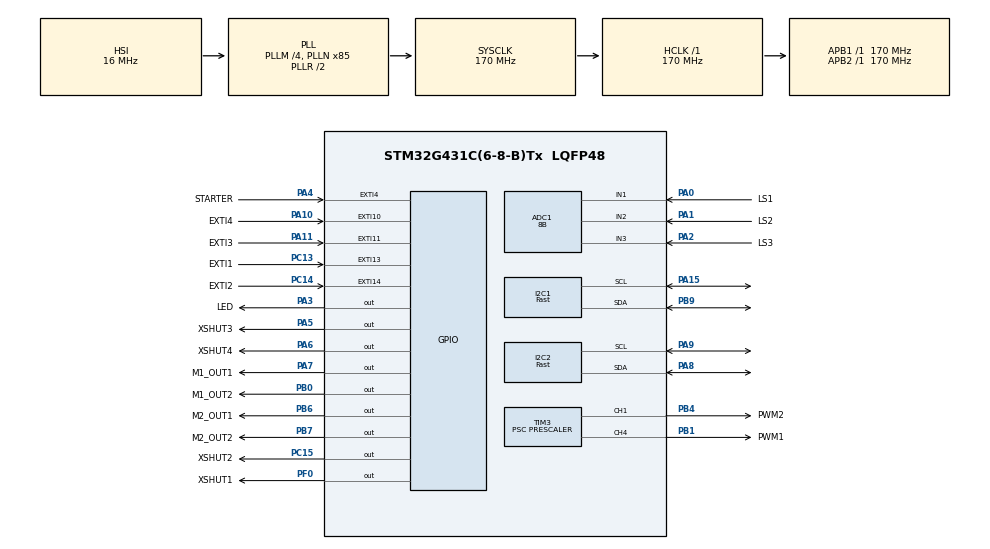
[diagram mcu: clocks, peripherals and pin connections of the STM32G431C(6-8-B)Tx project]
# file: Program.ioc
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ADC1.Channel-0\#ChannelRegularConversion=ADC_CHANNEL_1
ADC1.Channel-5\#ChannelRegularConversion=ADC_CHANNEL_2
ADC1.Channel-6\#ChannelRegularConversion=ADC_CHANNEL_3
ADC1.ClockPrescaler=ADC_CLOCK_SYNC_PCLK_DIV4
ADC1.ContinuousConvMode=ENABLE
ADC1.DMAContinuousRequests=ENABLE
ADC1.DiscontinuousConvMode=DISABLE
ADC1.EOCSelection=ADC_EOC_SEQ_CONV
ADC1.EnableAnalogWatchDog1=false
ADC1.EnableInjectedConversion=DISABLE
ADC1.NbrOfConversion=3
ADC1.NbrOfConversionFlag=1
ADC1.OffsetNumber-0\#ChannelRegularConversion=ADC_OFFSET_NONE
ADC1.OffsetNumber-5\#ChannelRegularConversion=ADC_OFFSET_NONE
ADC1.OffsetNumber-6\#ChannelRegularConversion=ADC_OFFSET_NONE
ADC1.Rank-0\#ChannelRegularConversion=1
ADC1.Rank-5\#ChannelRegularConversion=2
ADC1.Rank-6\#ChannelRegularConversion=3
ADC1.Resolution=ADC_RESOLUTION_8B
ADC1.SamplingTime-0\#ChannelRegularConversion=ADC_SAMPLETIME_47CYCLES_5
ADC1.SamplingTime-5\#ChannelRegularConversion=ADC_SAMPLETIME_47CYCLES_5
ADC1.SamplingTime-6\#ChannelRegularConversion=ADC_SAMPLETIME_47CYCLES_5
ADC1.master=1
Dma.ADC1.0.Direction=DMA_PERIPH_TO_MEMORY
Dma.ADC1.0.EventEnable=DISABLE
Dma.ADC1.0.Instance=DMA1_Channel1
Dma.ADC1.0.MemDataAlignment=DMA_MDATAALIGN_HALFWORD
Dma.ADC1.0.MemInc=DMA_MINC_ENABLE
Dma.ADC1.0.Mode=DMA_CIRCULAR
Dma.ADC1.0.PeriphDataAlignment=DMA_PDATAALIGN_HALFWORD
Dma.ADC1.0.PeriphInc=DMA_PINC_DISABLE
Dma.ADC1.0.Polarity=HAL_DMAMUX_REQ_GEN_RISING
Dma.ADC1.0.Priority=DMA_PRIORITY_LOW
Dma.ADC1.0.RequestNumber=1
Dma.ADC1.0.SignalID=NONE
Dma.ADC1.0.SyncEnable=DISABLE
Dma.ADC1.0.SyncPolarity=HAL_DMAMUX_SYNC_NO_EVENT
Dma.ADC1.0.SyncRequestNumber=1
Dma.ADC1.0.SyncSignalID=NONE
Dma.Request0=ADC1
I2C1.I2C_Fall_Time=50
I2C1.I2C_Rise_Time=50
I2C1.I2C_Speed_Mode=I2C_Fast
I2C1.Timing=0x20801E61
I2C2.I2C_Fall_Time=50
I2C2.I2C_Rise_Time=50
I2C2.I2C_Speed_Mode=I2C_Fast
I2C2.Timing=0x20801E61
IWDG.Prescaler=IWDG_PRESCALER_32
Mcu.Family=STM32G4
Mcu.Name=STM32G431C(6-8-B)Tx
Mcu.Package=LQFP48
Mcu.UserConstants=PULSE,250;PRESCALER,16;COUNTERPERIOD,499;PRESCALER_TIM2,169;COUNTERPERIOD_TIM2,4294967295
NVIC.DMA1_Channel1_IRQn=true\:0\:0\:false\:false\:true\:false\:true\:true
NVIC.EXTI15_10_IRQn=true\:1\:0\:true\:false\:true\:true\:true\:true
NVIC.EXTI4_IRQn=true\:0\:0\:false\:false\:true\:true\:true\:true
NVIC.PriorityGroup=NVIC_PRIORITYGROUP_4
NVIC.TIM3_IRQn=true\:2\:0\:true\:false\:true\:true\:true\:true
PA0.GPIO_Label=LS1
PA0.Mode=IN1-Single-Ended
PA0.Signal=ADC1_IN1
PA1.GPIO_Label=LS2
PA1.Mode=IN2-Single-Ended
PA1.Signal=ADC1_IN2
PA10.GPIO_Label=EXTI4
PA10.GPIO_ModeDefaultEXTI=GPIO_MODE_IT_FALLING
PA10.GPIO_PuPd=GPIO_PULLUP
PA10.Signal=GPXTI10
PA11.GPIO_Label=EXTI3
PA11.GPIO_ModeDefaultEXTI=GPIO_MODE_IT_FALLING
PA11.GPIO_PuPd=GPIO_PULLUP
PA11.Signal=GPXTI11
PA13.Mode=Serial_Wire
PA13.Signal=SYS_JTMS-SWDIO
PA14.Mode=Serial_Wire
PA14.Signal=SYS_JTCK-SWCLK
PA15.Mode=I2C
PA15.Signal=I2C1_SCL
PA2.GPIO_Label=LS3
PA2.Mode=IN3-Single-Ended
PA2.Signal=ADC1_IN3
PA3.GPIO_Label=LED
PA3.Signal=GPIO_Output
PA4.GPIO_Label=STARTER
PA4.GPIO_ModeDefaultEXTI=GPIO_MODE_IT_RISING_FALLING
PA4.GPIO_PuPd=GPIO_PULLUP
PA4.Signal=GPXTI4
PA5.GPIO_Label=XSHUT3
PA5.Signal=GPIO_Output
PA6.GPIO_Label=XSHUT4
PA6.Signal=GPIO_Output
PA7.GPIO_Label=M1_OUT1
PA7.Signal=GPIO_Output
PA8.Mode=I2C
PA8.Signal=I2C2_SDA
PA9.Mode=I2C
PA9.Signal=I2C2_SCL
PB0.GPIO_Label=M1_OUT2
PB0.Signal=GPIO_Output
PB1.GPIO_Label=PWM1
PB1.Signal=S_TIM3_CH4
PB4.GPIO_Label=PWM2
PB4.Signal=S_TIM3_CH1
PB6.GPIO_Label=M2_OUT1
PB6.Signal=GPIO_Output
PB7.GPIO_Label=M2_OUT2
PB7.Signal=GPIO_Output
PB9.Mode=I2C
PB9.Signal=I2C1_SDA
PC13.GPIO_Label=EXTI1
PC13.GPIO_ModeDefaultEXTI=GPIO_MODE_IT_FALLING
PC13.GPIO_PuPd=GPIO_PULLUP
PC13.Signal=GPXTI13
PC14-OSC32_IN.GPIO_Label=EXTI2
PC14-OSC32_IN.GPIO_ModeDefaultEXTI=GPIO_MODE_IT_FALLING
PC14-OSC32_IN.GPIO_PuPd=GPIO_PULLUP
PC14-OSC32_IN.Signal=GPXTI14
PC15-OSC32_OUT.GPIO_Label=XSHUT2
PC15-OSC32_OUT.Signal=GPIO_Output
PF0-OSC_IN.GPIO_Label=XSHUT1
PF0-OSC_IN.Signal=GPIO_Output
ProjectManager.HeapSize=0x1000
ProjectManager.StackSize=0x800
ProjectManager.TargetToolchain=CMake
RCC.ADC12Freq_Value=170000000
RCC.AHBFreq_Value=170000000
RCC.APB1Freq_Value=170000000
RCC.APB1TimFreq_Value=170000000
RCC.APB2Freq_Value=170000000
RCC.APB2TimFreq_Value=170000000
RCC.CortexFreq_Value=170000000
RCC.EXTERNAL_CLOCK_VALUE=12288000
RCC.HCLKFreq_Value=170000000
RCC.HSE_VALUE=8000000
RCC.HSI48_VALUE=48000000
RCC.HSI_VALUE=16000000
RCC.LSE_VALUE=32768
RCC.PLLM=RCC_PLLM_DIV4
RCC.PLLN=85
RCC.SYSCLKFreq_VALUE=170000000
RCC.SYSCLKSource=RCC_SYSCLKSOURCE_PLLCLK
RCC.USBFreq_Value=170000000
RCC.VCOOutputFreq_Value=340000000
SH.S_TIM3_CH1.0=TIM3_CH1,PWM Generation1 CH1
SH.S_TIM3_CH4.0=TIM3_CH4,PWM Generation4 CH4
TIM2.AutoReloadPreload=TIM_AUTORELOAD_PRELOAD_ENABLE
TIM2.PeriodNoDither=COUNTERPERIOD_TIM2
TIM2.Prescaler=PRESCALER_TIM2
TIM3.Channel-PWM\ Generation1\ CH1=TIM_CHANNEL_1
TIM3.Channel-PWM\ Generation4\ CH4=TIM_CHANNEL_4
TIM3.PeriodNoDither=COUNTERPERIOD
TIM3.Prescaler=PRESCALER
TIM3.PulseNoDither_1=0
TIM3.PulseNoDither_4=0
VP_IWDG_VS_IWDG.Mode=IWDG_Activate
VP_SYS_VS_DBSignals.Mode=DisableDeadBatterySignals
VP_TIM2_VS_ClockSourceINT.Mode=Internal
board=custom

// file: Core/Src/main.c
/* USER CODE BEGIN Header */
/**
  ******************************************************************************
  * @file           : main.c
  * @brief          : Main program body
  ******************************************************************************
  * @attention
  *
  * Copyright (c) 2025 STMicroelectronics.
  * All rights reserved.
  *
  * This software is licensed under terms that can be found in the LICENSE file
  * in the root directory of this software component.
  * If no LICENSE file comes with this software, it is provided AS-IS.
  *
  ******************************************************************************
  */
/* USER CODE END Header */
#include "main.h"
#include "adc.h"
#include "dma.h"
#include "i2c.h"
#include "iwdg.h"
#include "tim.h"
#include "gpio.h"

/* USER CODE BEGIN Includes */
#include <stdio.h>
#include <stdbool.h>
#include "tof_sensors.h"  // Changed from vl53l0x_multi.h based on refactoring
#include "motors.h"
#include "ir_remote.h"
#include "robot_logic.h"  // logic module inclusion
/* USER CODE END Includes */

/* USER CODE BEGIN PD */
// Logic thresholds moved to robot_logic.h
/* USER CODE END PD */

/* USER CODE BEGIN PV */
/* USER CODE BEGIN PV */
// --- Hardware Configuration ---

// Configuration array for ToF sensors (Pin mapping)
// UWAGA: Używamy typu zdefiniowanego w tof_sensors.h
ToF_Config_t sensor_configs[TOTAL_SENSOR_COUNT] = {
    { XSHUT1_GPIO_Port, XSHUT1_Pin, &hi2c1 },  // Front Right (0)
    { XSHUT2_GPIO_Port, XSHUT2_Pin, &hi2c1 },  // Side Right  (1)
    { XSHUT3_GPIO_Port, XSHUT3_Pin, &hi2c2 },  // Side Left   (2)
    { XSHUT4_GPIO_Port, XSHUT4_Pin, &hi2c2 }   // Front Left  (3)
};

// Interrupt flags for ToF sensors
volatile bool g_sensor_data_ready[TOTAL_SENSOR_COUNT] = {false};

// --- Data Buffers ---

// Buffer for ToF distance measurements [mm]
uint16_t tof_distances[TOTAL_SENSOR_COUNT];

// Buffer for Line sensors (DMA Circular)
volatile uint16_t adc_line_values[3];

extern TIM_HandleTypeDef htim2;  // Timer for IR (us)
/* USER CODE END PV */

void SystemClock_Config(void);

/* USER CODE BEGIN 0 */

/**
 * @brief Helper function to check flags and read data from ToF sensors.
 *        Called in main loop.
 */
void ProcessSensorFlags(void) {
    for(int i = 0; i < TOTAL_SENSOR_COUNT; i++) {
        if(g_sensor_data_ready[i]) {
            g_sensor_data_ready[i] = false;
            tof_distances[i] = ToF_ReadSingle(i);
        }
    }
}

/**
 * @brief Simple status LED update based on object detection
 */
void UpdateDebugLED(void) {
    bool objectDetected = false;
    for(int i=0; i<TOTAL_SENSOR_COUNT; i++) {
        if(tof_distances[i] < 200 && tof_distances[i] > 10) objectDetected = true;
    }
    HAL_GPIO_WritePin(LED_GPIO_Port, LED_Pin, objectDetected ? GPIO_PIN_SET : GPIO_PIN_RESET);
}

void StopRobot(void) {
    Motors_Stop();
    HAL_GPIO_WritePin(LED_GPIO_Port, LED_Pin, GPIO_PIN_RESET);
}
/* USER CODE END 0 */

int main(void)
{

  /* MCU Configuration--------------------------------------------------------*/

  /* Reset of all peripherals, Initializes the Flash interface and the Systick. */
  HAL_Init();

  /* Configure the system clock */
  SystemClock_Config();

  /* Initialize all configured peripherals */
  MX_GPIO_Init();
  MX_DMA_Init();
  MX_I2C2_Init();
  MX_I2C1_Init();
  MX_TIM3_Init();
  MX_ADC1_Init();
  MX_TIM2_Init();
  MX_IWDG_Init();
  /* USER CODE BEGIN 2 */

  // 1. Initialize Hardware Helpers
  HAL_TIM_Base_Start(&htim2); // For IR timing
  Motors_Init();
  IR_Init();
  ToF_InitAll(sensor_configs, TOTAL_SENSOR_COUNT);
  ToF_ClearAllInterrupts();
  for(int i=0; i<TOTAL_SENSOR_COUNT; i++) g_sensor_data_ready[i] = false;
  HAL_ADC_Start_DMA(&hadc1, (uint32_t*)adc_line_values, 3);
  Logic_Init();

  HAL_Delay(500);

  /* USER CODE END 2 */

  /* Infinite loop */
  while (1)
  {

    /* USER CODE BEGIN 3 */
    ToF_ReadAll(tof_distances);
    HAL_IWDG_Refresh(&hiwdg);
    if (!IR_IsRobotEnabled()) {
        StopRobot();
        continue;
    }
    ProcessSensorFlags();
    UpdateDebugLED();
    Logic_Update((uint16_t*)adc_line_values, tof_distances);

   }
  /* USER CODE END 3 */
}

void SystemClock_Config(void)
{
  RCC_OscInitTypeDef RCC_OscInitStruct = {0};
  RCC_ClkInitTypeDef RCC_ClkInitStruct = {0};

  /** Configure the main internal regulator output voltage
  */
  HAL_PWREx_ControlVoltageScaling(PWR_REGULATOR_VOLTAGE_SCALE1_BOOST);

  /** Initializes the RCC Oscillators according to the specified parameters
  * in the RCC_OscInitTypeDef structure.
  */
  RCC_OscInitStruct.OscillatorType = RCC_OSCILLATORTYPE_HSI|RCC_OSCILLATORTYPE_LSI;
  RCC_OscInitStruct.HSIState = RCC_HSI_ON;
  RCC_OscInitStruct.HSICalibrationValue = RCC_HSICALIBRATION_DEFAULT;
  RCC_OscInitStruct.LSIState = RCC_LSI_ON;
  RCC_OscInitStruct.PLL.PLLState = RCC_PLL_ON;
  RCC_OscInitStruct.PLL.PLLSource = RCC_PLLSOURCE_HSI;
  RCC_OscInitStruct.PLL.PLLM = RCC_PLLM_DIV4;
  RCC_OscInitStruct.PLL.PLLN = 85;
  RCC_OscInitStruct.PLL.PLLP = RCC_PLLP_DIV2;
  RCC_OscInitStruct.PLL.PLLQ = RCC_PLLQ_DIV2;
  RCC_OscInitStruct.PLL.PLLR = RCC_PLLR_DIV2;
  if (HAL_RCC_OscConfig(&RCC_OscInitStruct) != HAL_OK)
  {
    Error_Handler();
  }

  /** Initializes the CPU, AHB and APB buses clocks
  */
  RCC_ClkInitStruct.ClockType = RCC_CLOCKTYPE_HCLK|RCC_CLOCKTYPE_SYSCLK
                              |RCC_CLOCKTYPE_PCLK1|RCC_CLOCKTYPE_PCLK2;
  RCC_ClkInitStruct.SYSCLKSource = RCC_SYSCLKSOURCE_PLLCLK;
  RCC_ClkInitStruct.AHBCLKDivider = RCC_SYSCLK_DIV1;
  RCC_ClkInitStruct.APB1CLKDivider = RCC_HCLK_DIV1;
  RCC_ClkInitStruct.APB2CLKDivider = RCC_HCLK_DIV1;

  if (HAL_RCC_ClockConfig(&RCC_ClkInitStruct, FLASH_LATENCY_4) != HAL_OK)
  {
    Error_Handler();
  }
}

/* USER CODE BEGIN 4 */

void HAL_GPIO_EXTI_Callback(uint16_t GPIO_Pin){

  // Check IR Receiver interrupt
  if (GPIO_Pin == STARTER_Pin) {
        IR_GPIO_Callback();
        return;
  }

  // Check ToF Sensors interrupts
  // Map GPIO pins to sensor indices
  switch (GPIO_Pin)
  {
    case EXTI1_Pin:
      g_sensor_data_ready[0] = true;
      break;
    case EXTI2_Pin:
      g_sensor_data_ready[1] = true;
      break;
    case EXTI3_Pin:
      g_sensor_data_ready[2] = true;
      break;
    case EXTI4_Pin:
      g_sensor_data_ready[3] = true;
      break;
    default:
      break;
  }
}

void HAL_I2C_ErrorCallback(I2C_HandleTypeDef *hi2c) {
    // I2C error - reset
    NVIC_SystemReset();
}

/* USER CODE END 4 */

void Error_Handler(void)
{
  __disable_irq();
  while (1)
  {
  }
}
